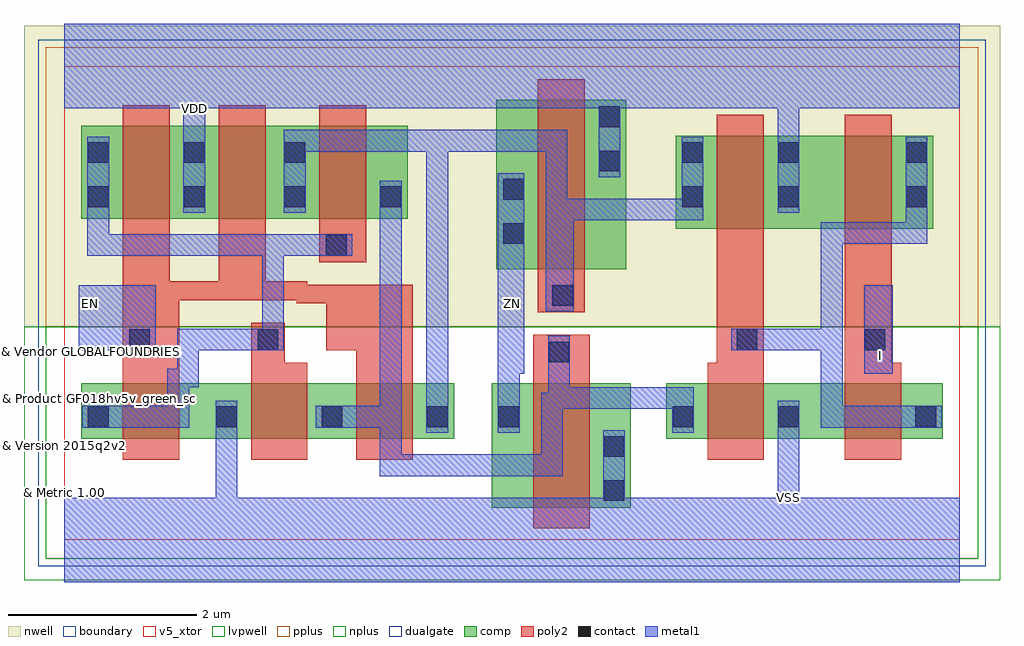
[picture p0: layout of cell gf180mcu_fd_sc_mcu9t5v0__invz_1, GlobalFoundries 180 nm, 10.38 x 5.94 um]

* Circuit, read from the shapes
.subckt gf180mcu_fd_sc_mcu9t5v0__invz_1 EN I VDD VSS ZN
XM1 VSS EN n1 VSUBS nfet_05v0 w=0.59u l=0.6u
XM2 n2 n1 VSS VSUBS nfet_05v0 w=0.59u l=0.6u
XM3 n3 EN n2 VSUBS nfet_05v0 w=0.59u l=0.6u
XM4 VSS n2 ZN VSUBS nfet_05v0 w=1.32u l=0.6u
XM5 VSS n4 n2 VSUBS nfet_05v0 w=0.59u l=0.6u
XM6 n4 I VSS VSUBS nfet_05v0 w=0.59u l=0.6u
XM7 VDD EN n1 n5 pfet_05v0 w=0.99u l=0.5u
XM8 n3 EN VDD n5 pfet_05v0 w=0.99u l=0.5u
XM9 n2 n1 n3 n5 pfet_05v0 w=0.99u l=0.5u
XM10 VDD n3 ZN n5 pfet_05v0 w=1.8u l=0.5u
XM11 VDD n4 n3 n5 pfet_05v0 w=0.99u l=0.5u
XM12 n4 I VDD n5 pfet_05v0 w=0.99u l=0.5u
.ends

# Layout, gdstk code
import gdstk
lib = gdstk.Library(unit=1e-6, precision=1e-09)
def R(c, l, rs):  # rectangles x0, y0, x1, y1
    for r in rs: c.add(gdstk.rectangle(r[:2], r[2:], *l))
def A(c, l, x, y, w, h, nx, ny, dx, dy):  # array of equal rectangles
    R(c, l, [(x+i*dx, y+j*dy, x+i*dx+w, y+j*dy+h) for i in range(nx) for j in range(ny)])
def P(c, l, *ps):  # polygons
    for p in ps: c.add(gdstk.Polygon(p, *l))
boundary = (0, 0)
nwell = (21, 0)
comp = (22, 0)
poly2 = (30, 0)
pplus = (31, 0)
nplus = (32, 0)
contact = (33, 0)
metal1 = (34, 0)
dualgate = (55, 0)
v5_xtor = (112, 1)
lvpwell = (204, 0)

gf180mcu_fd_sc_mcu9t5v0_ = lib.new_cell('gf180mcu_fd_sc_mcu9t5v0__invz_1')
R(gf180mcu_fd_sc_mcu9t5v0_, boundary, [(0,0,9.52,5.04)])
R(gf180mcu_fd_sc_mcu9t5v0_, nwell, [(-0.43,2.265,9.95,5.47)])
R(gf180mcu_fd_sc_mcu9t5v0_, comp, [(4.545,0.345,6.025,1.665), (0.18,1.075,4.145,1.665), (6.4,1.075,9.34,1.665), (4.595,2.88,5.975,4.68), (6.5,3.31,9.24,4.3), (0.18,3.415,3.65,4.405)])
R(gf180mcu_fd_sc_mcu9t5v0_, poly2, [(4.985,0.125,5.585,2.18), (5.035,2.42,5.535,4.9), (2.71,2.955,3.21,4.625)])
P(gf180mcu_fd_sc_mcu9t5v0_, poly2, [(1.985,0.855),(1.985,2.31),(2.345,2.31),(2.345,1.885),(2.585,1.885),(2.585,0.855)],
  [(0.62,0.855),(0.62,4.625),(1.12,4.625),(1.12,2.75),(1.64,2.75),(1.64,4.625),(2.14,4.625),(2.14,2.75),(2.585,2.75),(2.585,2.715),(3.705,2.715),(3.705,0.855),(3.105,0.855),(3.105,2.02),(2.785,2.02),(2.785,2.515),(2.47,2.515),(2.47,2.55),(1.22,2.55),(1.22,0.855)],
  [(6.84,0.855),(6.84,1.885),(6.94,1.885),(6.94,4.52),(7.44,4.52),(7.44,0.855)],
  [(8.3,0.855),(8.3,4.52),(8.8,4.52),(8.8,1.885),(8.9,1.885),(8.9,0.855)])
R(gf180mcu_fd_sc_mcu9t5v0_, pplus, [(-0.2,2.265,9.72,5.24)])
R(gf180mcu_fd_sc_mcu9t5v0_, nplus, [(-0.2,-0.2,9.72,2.265)])
A(gf180mcu_fd_sc_mcu9t5v0_, contact, 1.615, 1.2, 0.22, 0.22, 3, 1, 1.12, 0)
R(gf180mcu_fd_sc_mcu9t5v0_, contact, [(5.735,0.415,5.955,0.635), (5.735,0.885,5.955,1.105), (0.25,1.2,0.47,1.42), (4.615,1.2,4.835,1.42), (6.47,1.2,6.69,1.42), (7.59,1.2,7.81,1.42), (9.05,1.2,9.27,1.42), (5.15,1.89,5.37,2.11), (0.69,2.02,0.91,2.24), (2.055,2.02,2.275,2.24), (7.15,2.02,7.37,2.24), (8.51,2.02,8.73,2.24), (5.19,2.49,5.41,2.71), (2.78,3.025,3,3.245), (4.665,3.15,4.885,3.37), (0.25,3.54,0.47,3.76), (1.27,3.54,1.49,3.76), (2.34,3.54,2.56,3.76), (3.36,3.54,3.58,3.76), (6.57,3.54,6.79,3.76), (7.59,3.54,7.81,3.76), (8.95,3.54,9.17,3.76), (4.665,3.62,4.885,3.84), (5.685,3.92,5.905,4.14), (0.25,4.01,0.47,4.23), (1.27,4.01,1.49,4.23), (2.34,4.01,2.56,4.23), (6.57,4.01,6.79,4.23), (7.59,4.01,7.81,4.23), (8.95,4.01,9.17,4.23), (5.685,4.39,5.905,4.61)])
R(gf180mcu_fd_sc_mcu9t5v0_, metal1, [(8.505,1.77,8.81,2.71), (0.15,2.015,0.97,2.71)])
P(gf180mcu_fd_sc_mcu9t5v0_, metal1, [(0.19,1.195),(0.19,1.425),(1.095,1.425),(1.095,1.82),(1.2,1.82),(1.2,2.245),(2.105,2.245),(2.105,3.02),(0.245,3.02),(0.245,4.29),(0.475,4.29),(0.475,3.25),(3.06,3.25),(3.06,3.02),(2.335,3.02),(2.335,2.015),(1.43,2.015),(1.43,1.625),(1.325,1.625),(1.325,1.195)],
  [(4.61,1.14),(4.61,3.9),(4.89,3.9),(4.89,1.77),(4.84,1.77),(4.84,1.14)],
  [(3.355,0.68),(3.355,1.195),(2.675,1.195),(2.675,1.425),(3.355,1.425),(3.355,3.82),(3.585,3.82),(3.585,0.91),(5.07,0.91),(5.07,1.565),(5.145,1.565),(5.145,2.17),(5.375,2.17),(5.375,1.625),(6.695,1.625),(6.695,1.14),(6.465,1.14),(6.465,1.395),(5.3,1.395),(5.3,0.68)],
  [(3.85,1.14),(3.85,4.13),(2.565,4.13),(2.565,3.48),(2.335,3.48),(2.335,4.36),(5.35,4.36),(5.35,3.63),(6.565,3.63),(6.565,4.29),(6.795,4.29),(6.795,3.4),(5.415,3.4),(5.415,2.43),(5.12,2.43),(5.12,4.13),(4.08,4.13),(4.08,1.14)],
  [(8.045,1.195),(8.045,2.015),(7.09,2.015),(7.09,2.245),(8.045,2.245),(8.045,3.38),(8.945,3.38),(8.945,4.29),(9.175,4.29),(9.175,3.15),(8.275,3.15),(8.275,1.425),(9.33,1.425),(9.33,1.195)],
  [(0,-0.45),(0,0.45),(1.61,0.45),(1.61,1.48),(1.84,1.48),(1.84,0.45),(5.73,0.45),(5.73,1.165),(5.96,1.165),(5.96,0.45),(7.585,0.45),(7.585,1.48),(7.815,1.48),(7.815,0.45),(9.52,0.45),(9.52,-0.45)],
  [(1.265,3.48),(1.265,4.59),(0,4.59),(0,5.49),(9.52,5.49),(9.52,4.59),(7.815,4.59),(7.815,3.48),(7.585,3.48),(7.585,4.59),(5.91,4.59),(5.91,3.86),(5.68,3.86),(5.68,4.59),(1.495,4.59),(1.495,3.48)])
R(gf180mcu_fd_sc_mcu9t5v0_, dualgate, [(-0.28,-0.28,9.8,5.32)])
R(gf180mcu_fd_sc_mcu9t5v0_, v5_xtor, [(0,0,9.52,5.04)])
R(gf180mcu_fd_sc_mcu9t5v0_, lvpwell, [(-0.43,-0.43,9.95,2.265)])
gf180mcu_fd_sc_mcu9t5v0_.add(gdstk.Label('EN', (0.28,2.52), layer=34, texttype=10))
gf180mcu_fd_sc_mcu9t5v0_.add(gdstk.Label('I', (8.68,1.96), layer=34, texttype=10))
gf180mcu_fd_sc_mcu9t5v0_.add(gdstk.Label('VDD', (1.38,4.59), layer=34, texttype=10))
gf180mcu_fd_sc_mcu9t5v0_.add(gdstk.Label('VSS', (7.7,0.45), layer=34, texttype=10))
gf180mcu_fd_sc_mcu9t5v0_.add(gdstk.Label('ZN', (4.76,2.52), layer=34, texttype=10))
gf180mcu_fd_sc_mcu9t5v0_.add(gdstk.Label('& Vendor GLOBALFOUNDRIES', (0,2), layer=63, texttype=63))
gf180mcu_fd_sc_mcu9t5v0_.add(gdstk.Label('& Product GF018hv5v_green_sc9', (0,1.5), layer=63, texttype=63))
gf180mcu_fd_sc_mcu9t5v0_.add(gdstk.Label('& Version 2015q2v2', (0,1), layer=63, texttype=63))
gf180mcu_fd_sc_mcu9t5v0_.add(gdstk.Label('& Metric 1.00', (0,0.5), layer=63, texttype=63))

lib.write_gds('gf180mcu_fd_sc_mcu9t5v0__invz_1.gds')
